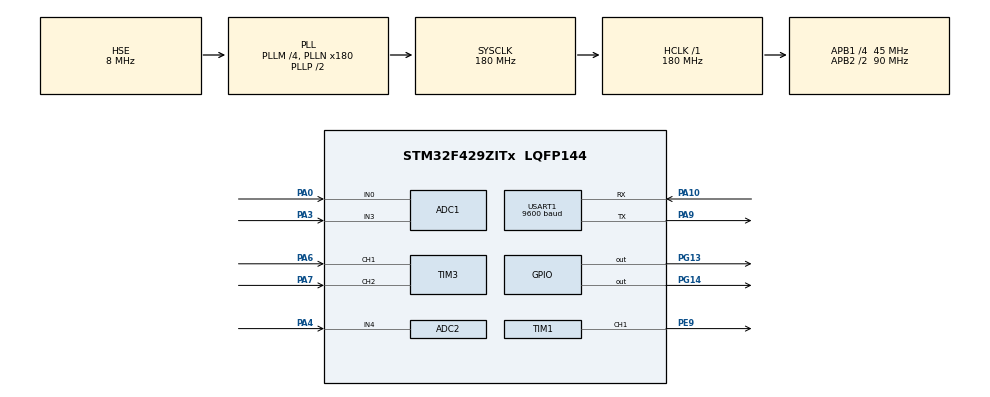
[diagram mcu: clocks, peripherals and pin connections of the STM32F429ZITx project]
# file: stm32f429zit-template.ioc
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ADC1.Channel-0\#ChannelRegularConversion=ADC_CHANNEL_0
ADC1.Channel-8\#ChannelRegularConversion=ADC_CHANNEL_3
ADC1.ContinuousConvMode=DISABLE
ADC1.DMAContinuousRequests=ENABLE
ADC1.EOCSelection=ADC_EOC_SINGLE_CONV
ADC1.ExternalTrigConv=ADC_EXTERNALTRIGCONV_T2_CC2
ADC1.ExternalTrigConvEdge=ADC_EXTERNALTRIGCONVEDGE_FALLING
ADC1.NbrOfConversion=2
ADC1.NbrOfConversionFlag=1
ADC1.Rank-0\#ChannelRegularConversion=1
ADC1.Rank-8\#ChannelRegularConversion=2
ADC1.SamplingTime-0\#ChannelRegularConversion=ADC_SAMPLETIME_15CYCLES
ADC1.SamplingTime-8\#ChannelRegularConversion=ADC_SAMPLETIME_15CYCLES
ADC1.master=1
ADC2.Channel-0\#ChannelRegularConversion=ADC_CHANNEL_4
ADC2.ContinuousConvMode=ENABLE
ADC2.DMAContinuousRequests=ENABLE
ADC2.NbrOfConversionFlag=1
ADC2.Rank-0\#ChannelRegularConversion=1
ADC2.SamplingTime-0\#ChannelRegularConversion=ADC_SAMPLETIME_15CYCLES
Dma.ADC1.0.Direction=DMA_PERIPH_TO_MEMORY
Dma.ADC1.0.FIFOMode=DMA_FIFOMODE_DISABLE
Dma.ADC1.0.Instance=DMA2_Stream0
Dma.ADC1.0.MemDataAlignment=DMA_MDATAALIGN_HALFWORD
Dma.ADC1.0.MemInc=DMA_MINC_ENABLE
Dma.ADC1.0.Mode=DMA_CIRCULAR
Dma.ADC1.0.PeriphDataAlignment=DMA_PDATAALIGN_HALFWORD
Dma.ADC1.0.PeriphInc=DMA_PINC_DISABLE
Dma.ADC1.0.Priority=DMA_PRIORITY_LOW
Dma.ADC2.1.Direction=DMA_PERIPH_TO_MEMORY
Dma.ADC2.1.FIFOMode=DMA_FIFOMODE_DISABLE
Dma.ADC2.1.Instance=DMA2_Stream2
Dma.ADC2.1.MemDataAlignment=DMA_MDATAALIGN_HALFWORD
Dma.ADC2.1.MemInc=DMA_MINC_ENABLE
Dma.ADC2.1.Mode=DMA_CIRCULAR
Dma.ADC2.1.PeriphDataAlignment=DMA_PDATAALIGN_HALFWORD
Dma.ADC2.1.PeriphInc=DMA_PINC_DISABLE
Dma.ADC2.1.Priority=DMA_PRIORITY_LOW
Dma.Request0=ADC1
Dma.Request1=ADC2
Mcu.Family=STM32F4
Mcu.Name=STM32F429ZITx
Mcu.Package=LQFP144
NVIC.ADC_IRQn=true\:0\:0\:false\:false\:true\:true\:true\:true
NVIC.DMA2_Stream0_IRQn=true\:0\:0\:false\:false\:true\:false\:true\:true
NVIC.DMA2_Stream2_IRQn=true\:0\:0\:false\:false\:true\:false\:true\:true
NVIC.PriorityGroup=NVIC_PRIORITYGROUP_4
NVIC.TIM2_IRQn=true\:0\:0\:false\:false\:true\:true\:true\:true
NVIC.TIM3_IRQn=true\:0\:0\:false\:false\:true\:true\:true\:true
NVIC.TIM7_IRQn=true\:0\:0\:false\:false\:true\:true\:true\:true
NVIC.USART1_IRQn=true\:0\:0\:false\:false\:true\:true\:true\:true
PA0/WKUP.Signal=ADCx_IN0
PA10.Mode=Asynchronous
PA10.Signal=USART1_RX
PA13.Mode=Serial_Wire
PA13.Signal=SYS_JTMS-SWDIO
PA14.Mode=Serial_Wire
PA14.Signal=SYS_JTCK-SWCLK
PA3.Signal=ADCx_IN3
PA4.Signal=ADCx_IN4
PA6.Signal=S_TIM3_CH1
PA7.Signal=S_TIM3_CH2
PA9.Mode=Asynchronous
PA9.Signal=USART1_TX
PE9.Signal=S_TIM1_CH1
PG13.Signal=GPIO_Output
PG14.Signal=GPIO_Output
PH0/OSC_IN.Mode=HSE-External-Oscillator
PH0/OSC_IN.Signal=RCC_OSC_IN
PH1/OSC_OUT.Mode=HSE-External-Oscillator
PH1/OSC_OUT.Signal=RCC_OSC_OUT
ProjectManager.HeapSize=0x200
ProjectManager.StackSize=0x400
ProjectManager.TargetToolchain=STM32CubeIDE
RCC.48MHZClocksFreq_Value=90000000
RCC.AHBFreq_Value=180000000
RCC.APB1CLKDivider=RCC_HCLK_DIV4
RCC.APB1Freq_Value=45000000
RCC.APB1TimFreq_Value=90000000
RCC.APB2CLKDivider=RCC_HCLK_DIV2
RCC.APB2Freq_Value=90000000
RCC.APB2TimFreq_Value=180000000
RCC.CortexFreq_Value=180000000
RCC.HCLKFreq_Value=180000000
RCC.HSE_VALUE=8000000
RCC.HSI_VALUE=16000000
RCC.LSE_VALUE=32768
RCC.PLLM=4
RCC.PLLN=180
RCC.PLLSourceVirtual=RCC_PLLSOURCE_HSE
RCC.SYSCLKFreq_VALUE=180000000
RCC.SYSCLKSource=RCC_SYSCLKSOURCE_PLLCLK
RCC.VCOOutputFreq_Value=360000000
SH.ADCx_IN0.0=ADC1_IN0,IN0
SH.ADCx_IN3.0=ADC1_IN3,IN3
SH.ADCx_IN4.0=ADC2_IN4,IN4
SH.S_TIM1_CH1.0=TIM1_CH1,PWM Generation1 CH1
SH.S_TIM3_CH1.0=TIM3_CH1,Encoder_Interface
SH.S_TIM3_CH2.0=TIM3_CH2,Encoder_Interface
TIM1.Channel-PWM\ Generation1\ CH1=TIM_CHANNEL_1
TIM1.CounterMode=TIM_COUNTERMODE_CENTERALIGNED1
TIM1.TIM_MasterOutputTrigger=TIM_TRGO_UPDATE
TIM1.TIM_MasterSlaveMode=TIM_MASTERSLAVEMODE_ENABLE
TIM2.Channel-PWM\ Generation2\ No\ Output=TIM_CHANNEL_2
TIM3.EncoderMode=TIM_ENCODERMODE_TI12
TIM3.IC1Filter=8
TIM3.IC2Filter=8
TIM7.Period=10-1
TIM7.Prescaler=8000-1
USART1.BaudRate=9600
USART1.VirtualMode=VM_ASYNC
VP_TIM2_VS_ClockSourceITR.Mode=TriggerSource_ITR0
VP_TIM2_VS_ControllerModeReset.Mode=Reset Mode
VP_TIM2_VS_no_output2.Mode=PWM Generation2 No Output
VP_TIM7_VS_ClockSourceINT.Mode=Enable_Timer
board=custom

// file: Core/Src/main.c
/* USER CODE BEGIN Header */
/**
  ******************************************************************************
  * @file           : main.c
  * @brief          : Main program body
  ******************************************************************************
  * @attention
  *
  * Copyright (c) 2024 STMicroelectronics.
  * All rights reserved.
  *
  * This software is licensed under terms that can be found in the LICENSE file
  * in the root directory of this software component.
  * If no LICENSE file comes with this software, it is provided AS-IS.
  *
  ******************************************************************************
  */
/* USER CODE END Header */
#include "main.h"

/* USER CODE BEGIN Includes */
#include <stdlib.h>
#include <string.h>
/* USER CODE END Includes */

/* USER CODE BEGIN PTD */
typedef struct
{
  float velocity;
  float angle;
  uint32_t capture_cnt;
  int dir;
} encoder_t;
/* USER CODE END PTD */

/* USER CODE BEGIN PD */
#define ENCODER_PPR 10
#define PI ((float)3.14159256)

#define UART_RX_BUF_SIZE 32
#define UART_TX_BUF_SIZE 32
/* USER CODE END PD */

ADC_HandleTypeDef hadc1;
ADC_HandleTypeDef hadc2;
DMA_HandleTypeDef hdma_adc1;
DMA_HandleTypeDef hdma_adc2;

TIM_HandleTypeDef htim1;
TIM_HandleTypeDef htim2;
TIM_HandleTypeDef htim3;
TIM_HandleTypeDef htim7;

UART_HandleTypeDef huart1;

/* USER CODE BEGIN PV */
uint16_t adc1_values[2] = {0};
uint16_t adc2_value = 0;
uint16_t adc_sample_flag = 0;
uint8_t uart_byte = 0;

encoder_t encoder = {0};
/* USER CODE END PV */

void SystemClock_Config(void);
static void MX_GPIO_Init(void);
static void MX_DMA_Init(void);
static void MX_TIM7_Init(void);
static void MX_TIM1_Init(void);
static void MX_ADC1_Init(void);
static void MX_ADC2_Init(void);
static void MX_TIM2_Init(void);
static void MX_TIM3_Init(void);
static void MX_USART1_UART_Init(void);

int main(void)
{

  /* MCU Configuration--------------------------------------------------------*/

  /* Reset of all peripherals, Initializes the Flash interface and the Systick. */
  HAL_Init();

  /* Configure the system clock */
  SystemClock_Config();

  /* Initialize all configured peripherals */
  MX_GPIO_Init();
  MX_DMA_Init();
  MX_TIM7_Init();
  MX_TIM1_Init();
  MX_ADC1_Init();
  MX_ADC2_Init();
  MX_TIM2_Init();
  MX_TIM3_Init();
  MX_USART1_UART_Init();
  /* USER CODE BEGIN 2 */
  HAL_TIM_Base_Start_IT(&htim7);

  HAL_ADC_Start_DMA(&hadc1, (uint32_t*)adc1_values, 2);
  HAL_ADC_Start_DMA(&hadc2, (uint32_t*)&adc2_value, 1);

  TIM2->PSC = 8000 - 1;
  TIM2->CCR2 = 0xf;
  HAL_TIM_PWM_Start_IT(&htim2, TIM_CHANNEL_2);

  TIM1->PSC = 16000 - 1; // 10 KHz
  TIM1->ARR = 10000 - 1; // 1 Hz
  TIM1->CCR1 = (uint16_t)(0.25f * (float)TIM1->ARR);
  HAL_TIM_PWM_Start(&htim1, TIM_CHANNEL_1);

  HAL_UART_Receive_IT(&huart1, &uart_byte, sizeof(uart_byte));
  /* USER CODE END 2 */

  /* Infinite loop */
  while (1)
  {

  }
}

void SystemClock_Config(void)
{
  RCC_OscInitTypeDef RCC_OscInitStruct = {0};
  RCC_ClkInitTypeDef RCC_ClkInitStruct = {0};

  /** Configure the main internal regulator output voltage
  */
  __HAL_RCC_PWR_CLK_ENABLE();
  __HAL_PWR_VOLTAGESCALING_CONFIG(PWR_REGULATOR_VOLTAGE_SCALE1);

  /** Initializes the RCC Oscillators according to the specified parameters
  * in the RCC_OscInitTypeDef structure.
  */
  RCC_OscInitStruct.OscillatorType = RCC_OSCILLATORTYPE_HSE;
  RCC_OscInitStruct.HSEState = RCC_HSE_ON;
  RCC_OscInitStruct.PLL.PLLState = RCC_PLL_ON;
  RCC_OscInitStruct.PLL.PLLSource = RCC_PLLSOURCE_HSE;
  RCC_OscInitStruct.PLL.PLLM = 4;
  RCC_OscInitStruct.PLL.PLLN = 180;
  RCC_OscInitStruct.PLL.PLLP = RCC_PLLP_DIV2;
  RCC_OscInitStruct.PLL.PLLQ = 4;
  if (HAL_RCC_OscConfig(&RCC_OscInitStruct) != HAL_OK)
  {
    Error_Handler();
  }

  /** Activate the Over-Drive mode
  */
  if (HAL_PWREx_EnableOverDrive() != HAL_OK)
  {
    Error_Handler();
  }

  /** Initializes the CPU, AHB and APB buses clocks
  */
  RCC_ClkInitStruct.ClockType = RCC_CLOCKTYPE_HCLK|RCC_CLOCKTYPE_SYSCLK
                              |RCC_CLOCKTYPE_PCLK1|RCC_CLOCKTYPE_PCLK2;
  RCC_ClkInitStruct.SYSCLKSource = RCC_SYSCLKSOURCE_PLLCLK;
  RCC_ClkInitStruct.AHBCLKDivider = RCC_SYSCLK_DIV1;
  RCC_ClkInitStruct.APB1CLKDivider = RCC_HCLK_DIV4;
  RCC_ClkInitStruct.APB2CLKDivider = RCC_HCLK_DIV2;

  if (HAL_RCC_ClockConfig(&RCC_ClkInitStruct, FLASH_LATENCY_5) != HAL_OK)
  {
    Error_Handler();
  }
}

static void MX_ADC1_Init(void)
{

  ADC_ChannelConfTypeDef sConfig = {0};

  /** Configure the global features of the ADC (Clock, Resolution, Data Alignment and number of conversion)
  */
  hadc1.Instance = ADC1;
  hadc1.Init.ClockPrescaler = ADC_CLOCK_SYNC_PCLK_DIV4;
  hadc1.Init.Resolution = ADC_RESOLUTION_12B;
  hadc1.Init.ScanConvMode = ENABLE;
  hadc1.Init.ContinuousConvMode = DISABLE;
  hadc1.Init.DiscontinuousConvMode = DISABLE;
  hadc1.Init.ExternalTrigConvEdge = ADC_EXTERNALTRIGCONVEDGE_FALLING;
  hadc1.Init.ExternalTrigConv = ADC_EXTERNALTRIGCONV_T2_CC2;
  hadc1.Init.DataAlign = ADC_DATAALIGN_RIGHT;
  hadc1.Init.NbrOfConversion = 2;
  hadc1.Init.DMAContinuousRequests = ENABLE;
  hadc1.Init.EOCSelection = ADC_EOC_SINGLE_CONV;
  if (HAL_ADC_Init(&hadc1) != HAL_OK)
  {
    Error_Handler();
  }

  /** Configure for the selected ADC regular channel its corresponding rank in the sequencer and its sample time.
  */
  sConfig.Channel = ADC_CHANNEL_0;
  sConfig.Rank = 1;
  sConfig.SamplingTime = ADC_SAMPLETIME_15CYCLES;
  if (HAL_ADC_ConfigChannel(&hadc1, &sConfig) != HAL_OK)
  {
    Error_Handler();
  }

  /** Configure for the selected ADC regular channel its corresponding rank in the sequencer and its sample time.
  */
  sConfig.Channel = ADC_CHANNEL_3;
  sConfig.Rank = 2;
  if (HAL_ADC_ConfigChannel(&hadc1, &sConfig) != HAL_OK)
  {
    Error_Handler();
  }

}

static void MX_ADC2_Init(void)
{

  ADC_ChannelConfTypeDef sConfig = {0};

  /** Configure the global features of the ADC (Clock, Resolution, Data Alignment and number of conversion)
  */
  hadc2.Instance = ADC2;
  hadc2.Init.ClockPrescaler = ADC_CLOCK_SYNC_PCLK_DIV4;
  hadc2.Init.Resolution = ADC_RESOLUTION_12B;
  hadc2.Init.ScanConvMode = DISABLE;
  hadc2.Init.ContinuousConvMode = ENABLE;
  hadc2.Init.DiscontinuousConvMode = DISABLE;
  hadc2.Init.ExternalTrigConvEdge = ADC_EXTERNALTRIGCONVEDGE_NONE;
  hadc2.Init.ExternalTrigConv = ADC_SOFTWARE_START;
  hadc2.Init.DataAlign = ADC_DATAALIGN_RIGHT;
  hadc2.Init.NbrOfConversion = 1;
  hadc2.Init.DMAContinuousRequests = ENABLE;
  hadc2.Init.EOCSelection = ADC_EOC_SINGLE_CONV;
  if (HAL_ADC_Init(&hadc2) != HAL_OK)
  {
    Error_Handler();
  }

  /** Configure for the selected ADC regular channel its corresponding rank in the sequencer and its sample time.
  */
  sConfig.Channel = ADC_CHANNEL_4;
  sConfig.Rank = 1;
  sConfig.SamplingTime = ADC_SAMPLETIME_15CYCLES;
  if (HAL_ADC_ConfigChannel(&hadc2, &sConfig) != HAL_OK)
  {
    Error_Handler();
  }

}

static void MX_TIM1_Init(void)
{

  TIM_MasterConfigTypeDef sMasterConfig = {0};
  TIM_OC_InitTypeDef sConfigOC = {0};
  TIM_BreakDeadTimeConfigTypeDef sBreakDeadTimeConfig = {0};

  htim1.Instance = TIM1;
  htim1.Init.Prescaler = 0;
  htim1.Init.CounterMode = TIM_COUNTERMODE_CENTERALIGNED1;
  htim1.Init.Period = 65535;
  htim1.Init.ClockDivision = TIM_CLOCKDIVISION_DIV1;
  htim1.Init.RepetitionCounter = 0;
  htim1.Init.AutoReloadPreload = TIM_AUTORELOAD_PRELOAD_DISABLE;
  if (HAL_TIM_PWM_Init(&htim1) != HAL_OK)
  {
    Error_Handler();
  }
  sMasterConfig.MasterOutputTrigger = TIM_TRGO_UPDATE;
  sMasterConfig.MasterSlaveMode = TIM_MASTERSLAVEMODE_ENABLE;
  if (HAL_TIMEx_MasterConfigSynchronization(&htim1, &sMasterConfig) != HAL_OK)
  {
    Error_Handler();
  }
  sConfigOC.OCMode = TIM_OCMODE_PWM1;
  sConfigOC.Pulse = 0;
  sConfigOC.OCPolarity = TIM_OCPOLARITY_HIGH;
  sConfigOC.OCNPolarity = TIM_OCNPOLARITY_HIGH;
  sConfigOC.OCFastMode = TIM_OCFAST_DISABLE;
  sConfigOC.OCIdleState = TIM_OCIDLESTATE_RESET;
  sConfigOC.OCNIdleState = TIM_OCNIDLESTATE_RESET;
  if (HAL_TIM_PWM_ConfigChannel(&htim1, &sConfigOC, TIM_CHANNEL_1) != HAL_OK)
  {
    Error_Handler();
  }
  sBreakDeadTimeConfig.OffStateRunMode = TIM_OSSR_DISABLE;
  sBreakDeadTimeConfig.OffStateIDLEMode = TIM_OSSI_DISABLE;
  sBreakDeadTimeConfig.LockLevel = TIM_LOCKLEVEL_OFF;
  sBreakDeadTimeConfig.DeadTime = 0;
  sBreakDeadTimeConfig.BreakState = TIM_BREAK_DISABLE;
  sBreakDeadTimeConfig.BreakPolarity = TIM_BREAKPOLARITY_HIGH;
  sBreakDeadTimeConfig.AutomaticOutput = TIM_AUTOMATICOUTPUT_DISABLE;
  if (HAL_TIMEx_ConfigBreakDeadTime(&htim1, &sBreakDeadTimeConfig) != HAL_OK)
  {
    Error_Handler();
  }
  HAL_TIM_MspPostInit(&htim1);

}

static void MX_TIM2_Init(void)
{

  TIM_SlaveConfigTypeDef sSlaveConfig = {0};
  TIM_MasterConfigTypeDef sMasterConfig = {0};
  TIM_OC_InitTypeDef sConfigOC = {0};

  htim2.Instance = TIM2;
  htim2.Init.Prescaler = 0;
  htim2.Init.CounterMode = TIM_COUNTERMODE_UP;
  htim2.Init.Period = 4294967295;
  htim2.Init.ClockDivision = TIM_CLOCKDIVISION_DIV1;
  htim2.Init.AutoReloadPreload = TIM_AUTORELOAD_PRELOAD_DISABLE;
  if (HAL_TIM_Base_Init(&htim2) != HAL_OK)
  {
    Error_Handler();
  }
  if (HAL_TIM_PWM_Init(&htim2) != HAL_OK)
  {
    Error_Handler();
  }
  sSlaveConfig.SlaveMode = TIM_SLAVEMODE_RESET;
  sSlaveConfig.InputTrigger = TIM_TS_ITR0;
  if (HAL_TIM_SlaveConfigSynchro(&htim2, &sSlaveConfig) != HAL_OK)
  {
    Error_Handler();
  }
  sMasterConfig.MasterOutputTrigger = TIM_TRGO_RESET;
  sMasterConfig.MasterSlaveMode = TIM_MASTERSLAVEMODE_DISABLE;
  if (HAL_TIMEx_MasterConfigSynchronization(&htim2, &sMasterConfig) != HAL_OK)
  {
    Error_Handler();
  }
  sConfigOC.OCMode = TIM_OCMODE_PWM1;
  sConfigOC.Pulse = 0;
  sConfigOC.OCPolarity = TIM_OCPOLARITY_HIGH;
  sConfigOC.OCFastMode = TIM_OCFAST_DISABLE;
  if (HAL_TIM_PWM_ConfigChannel(&htim2, &sConfigOC, TIM_CHANNEL_2) != HAL_OK)
  {
    Error_Handler();
  }

}

static void MX_TIM3_Init(void)
{

  TIM_Encoder_InitTypeDef sConfig = {0};
  TIM_MasterConfigTypeDef sMasterConfig = {0};

  htim3.Instance = TIM3;
  htim3.Init.Prescaler = 0;
  htim3.Init.CounterMode = TIM_COUNTERMODE_UP;
  htim3.Init.Period = 65535;
  htim3.Init.ClockDivision = TIM_CLOCKDIVISION_DIV1;
  htim3.Init.AutoReloadPreload = TIM_AUTORELOAD_PRELOAD_DISABLE;
  sConfig.EncoderMode = TIM_ENCODERMODE_TI12;
  sConfig.IC1Polarity = TIM_ICPOLARITY_RISING;
  sConfig.IC1Selection = TIM_ICSELECTION_DIRECTTI;
  sConfig.IC1Prescaler = TIM_ICPSC_DIV1;
  sConfig.IC1Filter = 8;
  sConfig.IC2Polarity = TIM_ICPOLARITY_RISING;
  sConfig.IC2Selection = TIM_ICSELECTION_DIRECTTI;
  sConfig.IC2Prescaler = TIM_ICPSC_DIV1;
  sConfig.IC2Filter = 8;
  if (HAL_TIM_Encoder_Init(&htim3, &sConfig) != HAL_OK)
  {
    Error_Handler();
  }
  sMasterConfig.MasterOutputTrigger = TIM_TRGO_RESET;
  sMasterConfig.MasterSlaveMode = TIM_MASTERSLAVEMODE_DISABLE;
  if (HAL_TIMEx_MasterConfigSynchronization(&htim3, &sMasterConfig) != HAL_OK)
  {
    Error_Handler();
  }

}

static void MX_TIM7_Init(void)
{

  TIM_MasterConfigTypeDef sMasterConfig = {0};

  htim7.Instance = TIM7;
  htim7.Init.Prescaler = 8000-1;
  htim7.Init.CounterMode = TIM_COUNTERMODE_UP;
  htim7.Init.Period = 10-1;
  htim7.Init.AutoReloadPreload = TIM_AUTORELOAD_PRELOAD_DISABLE;
  if (HAL_TIM_Base_Init(&htim7) != HAL_OK)
  {
    Error_Handler();
  }
  sMasterConfig.MasterOutputTrigger = TIM_TRGO_RESET;
  sMasterConfig.MasterSlaveMode = TIM_MASTERSLAVEMODE_DISABLE;
  if (HAL_TIMEx_MasterConfigSynchronization(&htim7, &sMasterConfig) != HAL_OK)
  {
    Error_Handler();
  }

}

static void MX_USART1_UART_Init(void)
{

  huart1.Instance = USART1;
  huart1.Init.BaudRate = 9600;
  huart1.Init.WordLength = UART_WORDLENGTH_8B;
  huart1.Init.StopBits = UART_STOPBITS_1;
  huart1.Init.Parity = UART_PARITY_NONE;
  huart1.Init.Mode = UART_MODE_TX_RX;
  huart1.Init.HwFlowCtl = UART_HWCONTROL_NONE;
  huart1.Init.OverSampling = UART_OVERSAMPLING_16;
  if (HAL_UART_Init(&huart1) != HAL_OK)
  {
    Error_Handler();
  }

}

static void MX_DMA_Init(void)
{

  /* DMA controller clock enable */
  __HAL_RCC_DMA2_CLK_ENABLE();

  /* DMA interrupt init */
  /* DMA2_Stream0_IRQn interrupt configuration */
  HAL_NVIC_SetPriority(DMA2_Stream0_IRQn, 0, 0);
  HAL_NVIC_EnableIRQ(DMA2_Stream0_IRQn);
  /* DMA2_Stream2_IRQn interrupt configuration */
  HAL_NVIC_SetPriority(DMA2_Stream2_IRQn, 0, 0);
  HAL_NVIC_EnableIRQ(DMA2_Stream2_IRQn);

}

static void MX_GPIO_Init(void)
{
  GPIO_InitTypeDef GPIO_InitStruct = {0};

  /* GPIO Ports Clock Enable */
  __HAL_RCC_GPIOH_CLK_ENABLE();
  __HAL_RCC_GPIOA_CLK_ENABLE();
  __HAL_RCC_GPIOE_CLK_ENABLE();
  __HAL_RCC_GPIOG_CLK_ENABLE();

  /*Configure GPIO pin Output Level */
  HAL_GPIO_WritePin(GPIOG, GPIO_PIN_13|GPIO_PIN_14, GPIO_PIN_RESET);

  /*Configure GPIO pins : PG13 PG14 */
  GPIO_InitStruct.Pin = GPIO_PIN_13|GPIO_PIN_14;
  GPIO_InitStruct.Mode = GPIO_MODE_OUTPUT_PP;
  GPIO_InitStruct.Pull = GPIO_NOPULL;
  GPIO_InitStruct.Speed = GPIO_SPEED_FREQ_LOW;
  HAL_GPIO_Init(GPIOG, &GPIO_InitStruct);

}

/* USER CODE BEGIN 4 */
void HAL_UART_RxCpltCallback(UART_HandleTypeDef *huart)
{
	static char rx_buf[UART_RX_BUF_SIZE] = {0};
	static char tx_buf[UART_TX_BUF_SIZE] = {0};
	static int rx_buf_idx = 0;

	if (huart != &huart1)
	{
		return;
	}

	if (rx_buf_idx >= UART_RX_BUF_SIZE)
	{
		// Произошло переполнение буфера
		rx_buf_idx = 0;
		memset((void *)rx_buf, 0, UART_RX_BUF_SIZE);
	}

	rx_buf[rx_buf_idx++] = uart_byte;

	if ((rx_buf_idx > 2) && (rx_buf[rx_buf_idx - 2] == '\r') && (rx_buf[rx_buf_idx - 1] == '\n'))
	{
		// Очистка буфера отправки
		memset((void *)tx_buf, 0, UART_TX_BUF_SIZE);

		memcpy((void *)tx_buf, (void *)rx_buf, sizeof(rx_buf));
		tx_buf[0] = '!';
		HAL_UART_Transmit(&huart1, (void *)tx_buf, strlen(tx_buf), 100);

		// Очищаем буфер
		rx_buf_idx = 0;
		memset((void *)rx_buf, 0, UART_RX_BUF_SIZE);
	}

	// Снова включаем приём 1 байта по прерыванию
	HAL_UART_Receive_IT(&huart1, &uart_byte, sizeof(uart_byte));
}

void HAL_TIM_IC_CaptureCallback(TIM_HandleTypeDef *htim)
{
  if (htim == &htim3)
  {
    if (htim3.Channel == HAL_TIM_ACTIVE_CHANNEL_1)
    {
      encoder.capture_cnt++;
      if (TIM3->CR1 & TIM_CR1_DIR)
      {
        encoder.dir = -1;
      }
      else
      {
        encoder.dir = 1;
      }
    }
  }
}

void HAL_TIM_PeriodElapsedCallback(TIM_HandleTypeDef *htim)
{
  // Этот обратный вызов автоматически вызывается HAL при возникновении события UEV
  // Передача управления HAL, который обрабатывает IRQ
  static uint32_t enc_capture_cnt_prev = 0;
  static uint32_t enc_cutback_cnt = 0;
  if (htim == &htim7) {
	  if (enc_cutback_cnt++ >= 1000)
	  {
		  encoder.velocity = 0.0f;
		  enc_cutback_cnt = 0;
	  }

	  if (encoder.capture_cnt != enc_capture_cnt_prev)
	  {
		  const float angle_per_pulse = (2.0f * PI) / (float)ENCODER_PPR;
		  int32_t enc_capture_diff = abs(encoder.capture_cnt - enc_capture_cnt_prev);
		  encoder.velocity = (float)encoder.dir * ((float)enc_capture_diff * angle_per_pulse) / ((float)enc_cutback_cnt / 1000.0f);
		  enc_capture_cnt_prev = encoder.capture_cnt;
		  enc_cutback_cnt = 0;
	  }

  }
}

void HAL_ADC_ConvCpltCallback(ADC_HandleTypeDef *hadc) {

	if (hadc == &hadc1) {
		if (!(TIM1->CR1 & TIM_CR1_DIR)) {
			adc_sample_flag = (adc_sample_flag == 0) ? (0xfff + 0xff) : 0;
		}
	} else if (hadc == &hadc2) {

	}
}
/* USER CODE END 4 */

void Error_Handler(void)
{
  __disable_irq();
  while (1)
  {
  }
}
